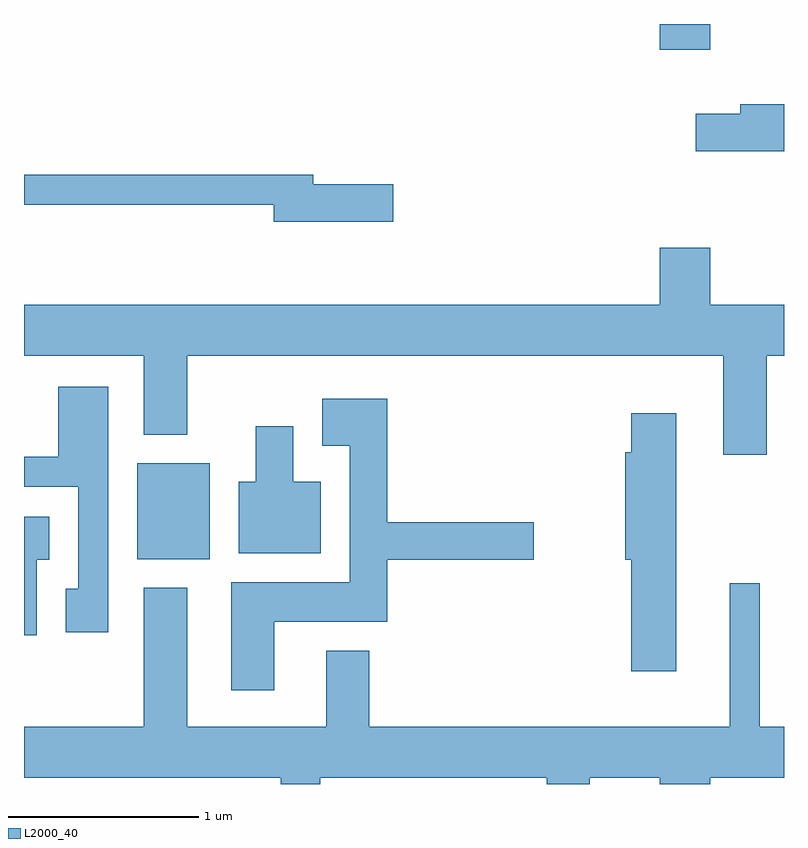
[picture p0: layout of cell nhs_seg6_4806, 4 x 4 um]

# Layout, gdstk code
import gdstk
lib = gdstk.Library(unit=1e-6, precision=1e-09)
def R(c, l, rs):  # rectangles x0, y0, x1, y1
    for r in rs: c.add(gdstk.rectangle(r[:2], r[2:], *l))
def P(c, l, *ps):  # polygons
    for p in ps: c.add(gdstk.Polygon(p, *l))
L2000_40 = (2000, 40)

nhs_seg6_4806 = lib.new_cell('nhs_seg6_4806')
R(nhs_seg6_4806, L2000_40, [(332.206,1613.346,332.589,1613.849), (334.956,1616.026,335.224,1616.162)])
P(nhs_seg6_4806, L2000_40, [(335.611,1615.739),(335.381,1615.739),(335.381,1615.689),(335.146,1615.689),(335.146,1615.491),(335.611,1615.491)],
  [(333.554,1615.319),(333.134,1615.319),(333.134,1615.369),(331.611,1615.369),(331.611,1615.211),(332.926,1615.211),(332.926,1615.121),(333.554,1615.121)],
  [(335.519,1614.416),(335.611,1614.416),(335.611,1614.684),(335.224,1614.684),(335.224,1614.984),(334.956,1614.984),(334.956,1614.684),(331.611,1614.684),(331.611,1614.416),(332.241,1614.416),(332.241,1614.001),(332.469,1614.001),(332.469,1614.416),(335.291,1614.416),(335.291,1613.896),(335.519,1613.896)],
  [(332.054,1614.254),(331.791,1614.254),(331.791,1613.884),(331.611,1613.884),(331.611,1613.726),(331.896,1613.726),(331.896,1613.189),(331.831,1613.189),(331.831,1612.961),(332.054,1612.961)],
  [(332.929,1613.016),(333.524,1613.016),(333.524,1613.341),(334.294,1613.341),(334.294,1613.539),(333.524,1613.539),(333.524,1614.189),(333.181,1614.189),(333.181,1613.941),(333.326,1613.941),(333.326,1613.224),(332.701,1613.224),(332.701,1612.656),(332.929,1612.656)],
  [(335.044,1614.114),(334.806,1614.114),(334.806,1613.909),(334.776,1613.909),(334.776,1613.341),(334.806,1613.341),(334.806,1612.756),(335.044,1612.756)],
  [(333.174,1613.754),(333.029,1613.754),(333.029,1614.044),(332.831,1614.044),(332.831,1613.754),(332.741,1613.754),(332.741,1613.376),(333.174,1613.376)],
  [(331.679,1613.341),(331.744,1613.341),(331.744,1613.569),(331.611,1613.569),(331.611,1612.946),(331.679,1612.946)],
  [(333.169,1612.196),(334.361,1612.196),(334.361,1612.162),(334.589,1612.162),(334.589,1612.196),(334.956,1612.196),(334.956,1612.162),(335.224,1612.162),(335.224,1612.196),(335.611,1612.196),(335.611,1612.464),(335.484,1612.464),(335.484,1613.218),(335.326,1613.218),(335.326,1612.464),(333.429,1612.464),(333.429,1612.864),(333.201,1612.864),(333.201,1612.464),(332.469,1612.464),(332.469,1613.194),(332.241,1613.194),(332.241,1612.464),(331.611,1612.464),(331.611,1612.196),(332.961,1612.196),(332.961,1612.162),(333.169,1612.162)])

lib.write_gds('nhs_seg6_4806.gds')
